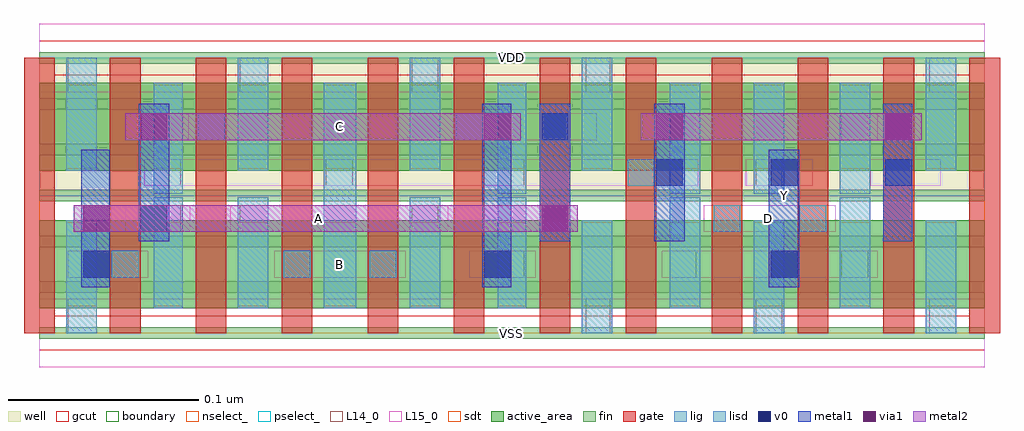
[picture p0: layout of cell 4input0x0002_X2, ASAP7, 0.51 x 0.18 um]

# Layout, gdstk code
import gdstk
lib = gdstk.Library(unit=1e-6, precision=1e-09)
def R(c, l, rs):  # rectangles x0, y0, x1, y1
    for r in rs: c.add(gdstk.rectangle(r[:2], r[2:], *l))
def A(c, l, x, y, w, h, nx, ny, dx, dy):  # array of equal rectangles
    R(c, l, [(x+i*dx, y+j*dy, x+i*dx+w, y+j*dy+h) for i in range(nx) for j in range(ny)])
def P(c, l, *ps):  # polygons
    for p in ps: c.add(gdstk.Polygon(p, *l))
well = (1, 0)
fin = (2, 0)
gate = (7, 0)
gcut = (10, 0)
active_area = (11, 0)
nselect_ = (12, 0)
pselect_ = (13, 0)
L14_0 = (14, 0)
L15_0 = (15, 0)
lig = (16, 0)
lisd = (17, 0)
v0 = (18, 0)
metal1 = (19, 0)
metal2 = (20, 0)
via1 = (21, 0)
sdt = (88, 0)
boundary = (100, 0)

c_4input0x0002_x2 = lib.new_cell('4input0x0002_X2')
R(c_4input0x0002_x2, well, [(0,0.072,0.495,0.144)])
A(c_4input0x0002_x2, fin, 0, -0.003, 0.495, 0.006, 1, 7, 0, 0.024)
A(c_4input0x0002_x2, gate, -0.008, 0, 0.016, 0.144, 12, 1, 0.045, 0)
P(c_4input0x0002_x2, gcut, [(0,-0.009),(0,0),(-0.008,0),(-0.008,0.135),(0.008,0.135),(0.008,0.009),(0.487,0.009),(0.487,0.135),(-0.008,0.135),(-0.008,0.144),(0,0.144),(0,0.153),(0.495,0.153),(0.495,0.144),(0.503,0.144),(0.503,0),(0.495,0),(0.495,-0.009)])
R(c_4input0x0002_x2, active_area, [(0,0.013,0.495,0.059), (0,0.085,0.495,0.131)])
R(c_4input0x0002_x2, nselect_, [(0,0,0.495,0.072)])
R(c_4input0x0002_x2, pselect_, [(0,0.072,0.495,0.144)])
A(c_4input0x0002_x2, L14_0, 0.24, 0.029, 0.014, 0.014, 3, 1, 0.09, 0)
A(c_4input0x0002_x2, L14_0, 0.06, 0.077, 0.014, 0.014, 3, 1, 0.09, 0)
R(c_4input0x0002_x2, L14_0, [(0.015,0,0.03,0.018), (0.286,0,0.299,0.018), (0.375,0,0.389,0.018), (0.466,0,0.48,0.018), (0.038,0.029,0.052,0.043), (0.128,0.029,0.142,0.043), (0.173,0.029,0.187,0.043), (0.06,0.053,0.074,0.067), (0.105,0.053,0.12,0.067), (0.195,0.053,0.209,0.067), (0.353,0.053,0.367,0.067), (0.398,0.053,0.412,0.067), (0.308,0.077,0.322,0.091), (0.375,0.077,0.389,0.091), (0.443,0.077,0.457,0.091), (0.083,0.101,0.097,0.115), (0.218,0.101,0.232,0.115), (0.263,0.101,0.277,0.115), (0.33,0.101,0.344,0.115), (0.42,0.101,0.434,0.115), (0.015,0.126,0.03,0.144), (0.105,0.126,0.12,0.144), (0.195,0.126,0.209,0.144), (0.286,0.126,0.299,0.144), (0.466,0.126,0.48,0.144)])
R(c_4input0x0002_x2, L15_0, [(0,-0.018,0.495,0.018), (0.015,0.029,0.057,0.043), (0.123,0.029,0.192,0.043), (0.225,0.029,0.26,0.043), (0.326,0.029,0.439,0.043), (0.045,0.053,0.079,0.067), (0.1,0.053,0.214,0.067), (0.348,0.053,0.417,0.067), (0.055,0.077,0.345,0.091), (0.37,0.077,0.405,0.091), (0.435,0.077,0.472,0.091), (0.078,0.101,0.237,0.115), (0.255,0.101,0.292,0.115), (0.326,0.101,0.439,0.115), (0,0.126,0.495,0.162)])
R(c_4input0x0002_x2, lig, [(0.038,0.029,0.052,0.043), (0.128,0.029,0.142,0.043), (0.173,0.029,0.187,0.043), (0.353,0.053,0.367,0.067), (0.398,0.053,0.412,0.067), (0.308,0.077,0.322,0.091), (0.443,0.077,0.457,0.091), (0.083,0.101,0.097,0.115), (0.218,0.101,0.232,0.115), (0.263,0.101,0.277,0.115)])
A(c_4input0x0002_x2, lisd, 0.284, 0, 0.016, 0.059, 3, 1, 0.09, 0)
A(c_4input0x0002_x2, lisd, 0.014, 0.085, 0.016, 0.059, 4, 1, 0.09, 0)
R(c_4input0x0002_x2, lisd, [(0.014,0,0.03,0.059), (0.06,0.013,0.075,0.071), (0.104,0.013,0.12,0.071), (0.149,0.013,0.166,0.131), (0.194,0.013,0.21,0.071), (0.24,0.013,0.255,0.071), (0.33,0.013,0.346,0.071), (0.419,0.013,0.435,0.071), (0.06,0.073,0.075,0.131), (0.24,0.073,0.255,0.131), (0.33,0.073,0.346,0.131), (0.374,0.073,0.39,0.131), (0.419,0.073,0.435,0.131), (0.464,0.085,0.48,0.144)])
A(c_4input0x0002_x2, v0, 0.323, 0.077, 0.014, 0.014, 3, 1, 0.06, 0)
R(c_4input0x0002_x2, v0, [(0.023,0.029,0.037,0.043), (0.233,0.029,0.247,0.043), (0.383,0.029,0.397,0.043), (0.053,0.053,0.067,0.067), (0.263,0.101,0.277,0.115)])
R(c_4input0x0002_x2, metal1, [(0.022,0.024,0.037,0.096), (0.232,0.024,0.247,0.12), (0.382,0.024,0.398,0.096), (0.052,0.048,0.068,0.12), (0.262,0.048,0.278,0.12), (0.322,0.048,0.338,0.12), (0.442,0.048,0.457,0.12)])
R(c_4input0x0002_x2, metal2, [(0.018,0.053,0.282,0.067), (0.045,0.101,0.252,0.115), (0.315,0.101,0.462,0.115)])
R(c_4input0x0002_x2, via1, [(0.023,0.053,0.037,0.067), (0.263,0.053,0.277,0.067), (0.053,0.101,0.067,0.115), (0.233,0.101,0.247,0.115), (0.323,0.101,0.337,0.115), (0.443,0.101,0.457,0.115)])
A(c_4input0x0002_x2, sdt, 0.014, 0.014, 0.016, 0.044, 4, 2, 0.09, 0.072)
A(c_4input0x0002_x2, sdt, 0.374, 0.014, 0.016, 0.044, 3, 2, 0.045, 0.072)
R(c_4input0x0002_x2, sdt, [(0.06,0.014,0.075,0.058), (0.149,0.014,0.166,0.058), (0.24,0.014,0.255,0.058), (0.33,0.014,0.346,0.058), (0.06,0.086,0.075,0.13), (0.149,0.086,0.166,0.13), (0.24,0.086,0.255,0.13), (0.33,0.086,0.346,0.13)])
R(c_4input0x0002_x2, boundary, [(0,0,0.495,0.144)])
c_4input0x0002_x2.add(gdstk.Label('C', (0.157,0.108), layer=15, texttype=251))
c_4input0x0002_x2.add(gdstk.Label('VSS', (0.247,0), layer=15, texttype=251))
c_4input0x0002_x2.add(gdstk.Label('VDD', (0.247,0.144), layer=15, texttype=251))
c_4input0x0002_x2.add(gdstk.Label('D', (0.382,0.06), layer=15, texttype=251))
c_4input0x0002_x2.add(gdstk.Label('VSS', (0.247,0), layer=15, texttype=251))
c_4input0x0002_x2.add(gdstk.Label('VDD', (0.247,0.144), layer=15, texttype=251))
c_4input0x0002_x2.add(gdstk.Label('B', (0.157,0.036), layer=15, texttype=251))
c_4input0x0002_x2.add(gdstk.Label('VSS', (0.247,0), layer=15, texttype=251))
c_4input0x0002_x2.add(gdstk.Label('VDD', (0.247,0.144), layer=15, texttype=251))
c_4input0x0002_x2.add(gdstk.Label('VSS', (0.247,0), layer=15, texttype=251))
c_4input0x0002_x2.add(gdstk.Label('VDD', (0.247,0.144), layer=15, texttype=251))
c_4input0x0002_x2.add(gdstk.Label('VSS', (0.247,0), layer=15, texttype=251))
c_4input0x0002_x2.add(gdstk.Label('VDD', (0.247,0.144), layer=15, texttype=251))
c_4input0x0002_x2.add(gdstk.Label('VSS', (0.247,0), layer=3, texttype=251))
c_4input0x0002_x2.add(gdstk.Label('VSS', (0.247,0), layer=3, texttype=251))
c_4input0x0002_x2.add(gdstk.Label('VSS', (0.247,0), layer=3, texttype=251))
c_4input0x0002_x2.add(gdstk.Label('VSS', (0.247,0), layer=3, texttype=251))
c_4input0x0002_x2.add(gdstk.Label('VSS', (0.247,0), layer=3, texttype=251))
c_4input0x0002_x2.add(gdstk.Label('VDD', (0.247,0.144), layer=1, texttype=251))
c_4input0x0002_x2.add(gdstk.Label('VDD', (0.247,0.144), layer=1, texttype=251))
c_4input0x0002_x2.add(gdstk.Label('VDD', (0.247,0.144), layer=1, texttype=251))
c_4input0x0002_x2.add(gdstk.Label('VDD', (0.247,0.144), layer=1, texttype=251))
c_4input0x0002_x2.add(gdstk.Label('VDD', (0.247,0.144), layer=1, texttype=251))
c_4input0x0002_x2.add(gdstk.Label('A', (0.146,0.06), layer=20, texttype=251))
c_4input0x0002_x2.add(gdstk.Label('Y', (0.39,0.072), layer=19, texttype=251))

lib.write_gds('4input0x0002_X2.gds')
